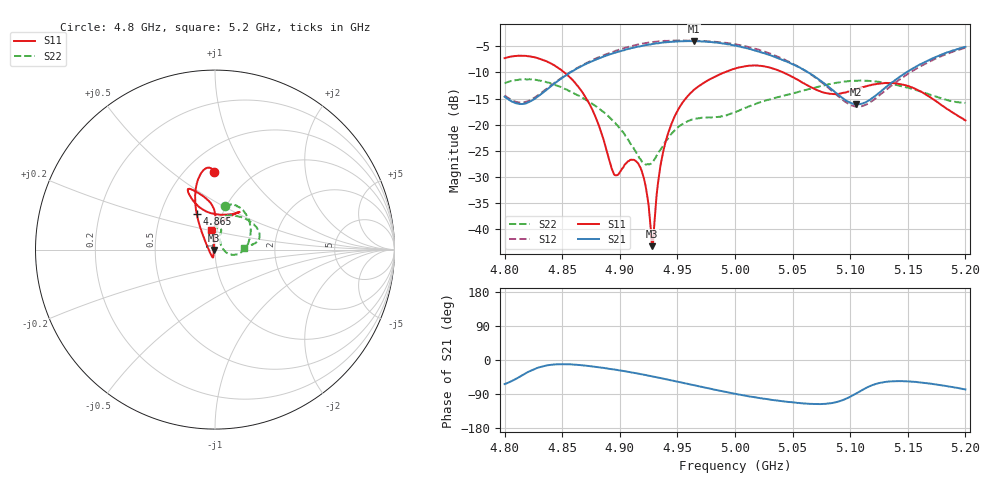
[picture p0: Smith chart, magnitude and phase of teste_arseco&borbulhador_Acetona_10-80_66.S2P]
! Network Analyzer HP8722D
! Hewlett-Packard
! Data name: Linha & Wilkinson
! Saver's name: Rodrigo Anjos
! Comments: Teste da utilização de aquisição
! continua pelo VNA HP8722D
! Time and date: 25/4/2025 15:49
!  Frequency  S11  S21  S12  S22
# HZ  S  MA R 50
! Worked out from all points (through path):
!   401 points, 4.8 GHz to 5.2 GHz, reference 50 ohm
!   highest |S21| = -3.97 dB at 4.964 GHz (marker M1); lowest = -16.1 dB at 5.105 GHz (marker M2)
!   lowest |S11| = -43.4 dB at 4.928 GHz (marker M3), VSWR 1.01, Z = 49.3 - j0.164 ohm
!   |S11| at or under -10 dB: 4.852 GHz to 4.991 GHz (138.8 MHz wide, 2.82 % of centre); 5.042 GHz to end of sweep
!   |S22| runs from -27.7 to -11.3 dB; largest |S21 - S12| = 1.2
!   S11 on the Smith chart (normalised r, x): 4.8 GHz: 0.68, +0.73; 4.865 GHz: 0.76, +0.32; 5.2 GHz: 0.94, +0.20
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4.8e9  0.4342 90.5  0.1851 -63.5  0.1905 69.9  0.2495 77.0
4.82e9  0.453 96.8  0.1622 -32.1  0.1674 98.6  0.2717 61.6
4.845e9  0.3593 107.2  0.2561 -11.5  0.2596 119.4  0.2374 34.2
4.865e9  0.2229 117.1  0.3548 -13.2  0.3593 120.9  0.1881 10.7
4.867e9  0.2074 118.3  0.3645 -13.9  0.3692 120.7  0.1824 8.5
4.88e9  0.1104 128.7  0.4237 -18.4  0.4341 118.3  0.1477 -5.5
4.895e9  0.03317 -172.4  0.487 -25.0  0.5025 113.7  0.1063 -16.0
4.909e9  0.04588 -107.3  0.5371 -32.2  0.5617 107.6  0.06629 -14.4
4.917e9  0.04015 -103.3  0.5624 -36.5  0.5899 103.5  0.0476 -1.0
4.922e9  0.02698 -106.8  0.5776 -39.4  0.6039 100.6  0.04168 15.9
4.928e9  0.006799 -165.8  0.593 -43.0  0.6194 96.9  0.0433 41.9
4.93e9  0.01124 125.8  0.596 -44.4  0.6223 95.6  0.04605 48.8
4.934e9  0.03219 99.4  0.6041 -47.0  0.6308 93.1  0.05482 58.8
4.945e9  0.1026 90.1  0.622 -53.9  0.6376 86.2  0.08199 69.8
4.964e9  0.2138 90.6  0.6332 -66.4  0.6395 74.1  0.1124 71.8
5e9  0.3447 109.1  0.5726 -89.1  0.5919 50.6  0.1314 88.6
5.03e9  0.3533 115.0  0.466 -104.2  0.4812 33.9  0.1734 85.2
5.067e9  0.2254 104.9  0.3 -115.7  0.2975 23.6  0.2224 57.0
5.105e9  0.2184 65.0  0.1567 -88.4  0.1489 54.6  0.2626 25.5
5.134e9  0.2505 57.0  0.2419 -56.6  0.2278 88.8  0.2474 12.4
5.168e9  0.1874 69.1  0.415 -62.0  0.3978 85.1  0.1957 6.9
5.2e9  0.1096 100.5  0.5568 -77.7  0.5461 70.0  0.1611 3.8
